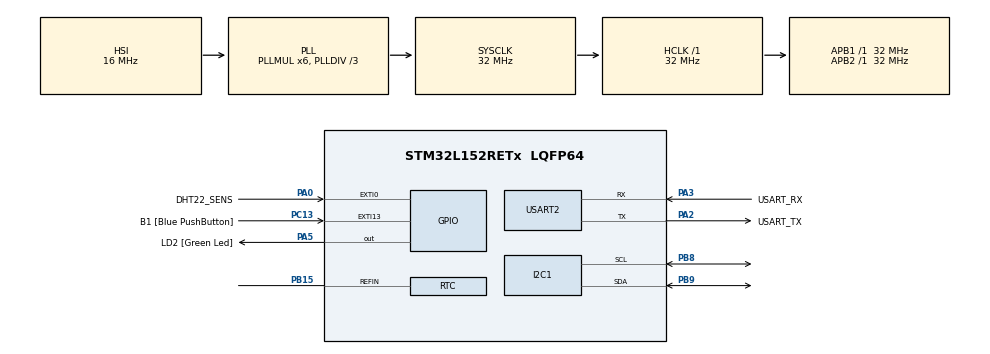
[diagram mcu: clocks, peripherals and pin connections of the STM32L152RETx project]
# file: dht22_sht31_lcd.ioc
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Mcu.Family=STM32L1
Mcu.Name=STM32L152RETx
Mcu.Package=LQFP64
NVIC.EXTI0_IRQn=true\:0\:0\:false\:false\:true\:true\:true
NVIC.I2C1_ER_IRQn=true\:0\:0\:false\:false\:true\:true\:true
NVIC.I2C1_EV_IRQn=true\:0\:0\:false\:false\:true\:true\:true
NVIC.PriorityGroup=NVIC_PRIORITYGROUP_0
NVIC.RTC_Alarm_IRQn=true\:0\:0\:false\:false\:true\:true\:true
NVIC.TIM7_IRQn=true\:0\:0\:false\:false\:true\:true\:true
NVIC.USART2_IRQn=true\:0\:0\:false\:false\:true\:true\:true
PA0-WKUP1.GPIO_Label=DHT22_SENS
PA0-WKUP1.GPIO_PuPd=GPIO_PULLUP
PA0-WKUP1.Signal=GPXTI0
PA13.GPIO_Label=TMS
PA13.Mode=Serial_Wire
PA13.Signal=SYS_JTMS-SWDIO
PA14.GPIO_Label=TCK
PA14.Mode=Serial_Wire
PA14.Signal=SYS_JTCK-SWCLK
PA2.GPIO_Label=USART_TX
PA2.Mode=Asynchronous
PA2.Signal=USART2_TX
PA3.GPIO_Label=USART_RX
PA3.Mode=Asynchronous
PA3.Signal=USART2_RX
PA5.GPIO_Label=LD2 [Green Led]
PA5.Signal=GPIO_Output
PB15.GPIO_PuPd=GPIO_PULLUP
PB15.Mode=Reference_Clock_Detection_Activate
PB15.Signal=RTC_REFIN
PB3.GPIO_Label=SWO
PB3.Signal=SYS_JTDO-TRACESWO
PB8.GPIO_Pu=GPIO_PULLUP
PB8.Mode=I2C
PB8.Signal=I2C1_SCL
PB9.GPIO_Pu=GPIO_PULLUP
PB9.Mode=I2C
PB9.Signal=I2C1_SDA
PC13-WKUP2.GPIO_Label=B1 [Blue PushButton]
PC13-WKUP2.Signal=GPXTI13
PC14-OSC32_IN.Mode=LSE-External-Oscillator
PC14-OSC32_IN.Signal=RCC_OSC32_IN
PC15-OSC32_OUT.Mode=LSE-External-Oscillator
PC15-OSC32_OUT.Signal=RCC_OSC32_OUT
PH0-OSC_IN.Mode=HSE-External-Clock-Source
PH0-OSC_IN.Signal=RCC_OSC_IN
PH1-OSC_OUT.Signal=RCC_OSC_OUT
ProjectManager.HeapSize=0x200
ProjectManager.StackSize=0x400
ProjectManager.TargetToolchain=STM32CubeIDE
RCC.48MHZClocksFreq_Value=48000000
RCC.AHBFreq_Value=32000000
RCC.APB1Freq_Value=32000000
RCC.APB1TimFreq_Value=32000000
RCC.APB2Freq_Value=32000000
RCC.APB2TimFreq_Value=32000000
RCC.HCLKFreq_Value=32000000
RCC.HSE_VALUE=8000000
RCC.HSI_VALUE=16000000
RCC.MSI_VALUE=2097000
RCC.PLLDIV=RCC_PLL_DIV3
RCC.PLLMUL=RCC_PLL_MUL6
RCC.RTCClockSelectionVirtual=RCC_RTCCLKSOURCE_LSE
RCC.SYSCLKFreq_VALUE=32000000
RCC.SYSCLKSource=RCC_SYSCLKSOURCE_PLLCLK
RCC.USBOutput=48000000
RCC.VCOOutputFreq_Value=96000000
RTC.Alarm-Alarm\ A=RTC_ALARM_A
RTC.AlarmDateWeekDay-Alarm\ A=6
RTC.Date=6
RTC.DayLightSaving=RTC_DAYLIGHTSAVING_ADD1H
RTC.Format=RTC_FORMAT_BCD
RTC.Hours=0
RTC.Minutes=2
RTC.Minutes_A-Alarm\ A=1
RTC.Month=RTC_MONTH_SEPTEMBER
RTC.Seconds=0
RTC.Seconds_A-Alarm\ A=10
RTC.Year=21
TIM7.Period=10-1
TIM7.Prescaler=31-1
USART2.VirtualMode=VM_ASYNC
VP_RTC_VS_RTC_Activate.Mode=RTC_Enabled
VP_RTC_VS_RTC_Alarm_A_Intern.Mode=Alarm A
VP_RTC_VS_RTC_Calendar.Mode=RTC_Calendar
VP_TIM7_VS_ClockSourceINT.Mode=Enable_Timer
board=NUCLEO-L152RE

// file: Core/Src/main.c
/* USER CODE BEGIN Header */
/**
  ******************************************************************************
  * @file           : main.c
  * @brief          : Main program body
  ******************************************************************************
  * @attention
  *
  * <h2><center>&copy; Copyright (c) 2021 STMicroelectronics.
  * All rights reserved.</center></h2>
  *
  * This software component is licensed by ST under BSD 3-Clause license,
  * the "License"; You may not use this file except in compliance with the
  * License. You may obtain a copy of the License at:
  *                        opensource.org/licenses/BSD-3-Clause
  *
  ******************************************************************************
  */
/* USER CODE END Header */
#include "main.h"
#include "i2c.h"
#include "rtc.h"
#include "tim.h"
#include "usart.h"
#include "gpio.h"

/* USER CODE BEGIN Includes */
#include "lib_lcd.h"
#include "DHT22.h"
#include "STH31.h"
#include <stdio.h>
/* USER CODE END Includes */

/* USER CODE BEGIN PV */
rgb_lcd DataStruct;

 SHT31_data_t data;
 uint8_t Data_T[256];
 uint8_t Data_H[256];

/* USER CODE END PV */

void SystemClock_Config(void);

int main(void)
{
  /* USER CODE BEGIN 1 */

	//HAL_NVIC_DisableIRQ(DHT22_SENS_EXTI_IRQn);

  /* USER CODE END 1 */

  /* MCU Configuration--------------------------------------------------------*/

  /* Reset of all peripherals, Initializes the Flash interface and the Systick. */
  HAL_Init();

  /* Configure the system clock */
  SystemClock_Config();

  /* Initialize all configured peripherals */
  MX_GPIO_Init();
  MX_USART2_UART_Init();
  MX_I2C1_Init();
  MX_TIM7_Init();
  MX_RTC_Init();
  /* USER CODE BEGIN 2 */

  	  /* INIT LCD */
 	  rgb_lcd LCD_DataStruct;
 	  LCD_DataStruct._displaycontrol = LCD_DISPLAYON;
 	  LCD_DataStruct._displayfunction = LCD_2LINE;
 	  LCD_DataStruct._displaymode = LCD_ENTRYLEFT;

 	  lcd_init(&hi2c1, &LCD_DataStruct);

 	  reglagecouleur(255,0,0);

 	  /* INIT DHT22 */
 	  DHT22_Init(&htim7, 32e6,DHT22_SENS_GPIO_Port,DHT22_SENS_Pin, DHT22_SENS_EXTI_IRQn);

 	  /* TEST : Print measures on the LCD screen */
 	  DHT22_Data DHT22_DataStruct;

	 	char text_buff7[32];
	 	sprintf(text_buff7,"  STM32 - BE");
	 	lcd_position(&hi2c1,0,0);
	 	lcd_print(&hi2c1, text_buff7);

	 	char text_buff8[32];
		sprintf(text_buff8, "DHT22/RTC/SHT31");
		lcd_position(&hi2c1,0,1);
		lcd_print(&hi2c1, text_buff8);
		HAL_Delay(1500);

	 	lcd_init(&hi2c1, &LCD_DataStruct);

	 	  //HAL_RTC_SetTime(&hrtc, &sTime, RTC_FORMAT_BIN);
	 	  //HAL_RTC_SetDate(&hrtc, &sDate, RTC_FORMAT_BIN);

	 	  //HAL_RTC_GetTime(&hrtc, &sTime, RTC_FORMAT_BIN);
	 	  //HAL_RTC_GetDate(&hrtc, &sDate, RTC_FORMAT_BIN);

	 		//char text_time[32];
	 	 	//sprintf(text_time,"%02d:%02d:%02d",sTime.Hours, sTime.Minutes, sTime.Seconds);
	 	 	//lcd_position(&hi2c1,0,0);
	 	 	//lcd_print(&hi2c1, text_time);

	 	 	//char text_date[32];
	 	 	//sprintf(text_date,"%02d-%02d-%02d",sDate.Date, sDate.Month, 2000+sDate.Year);
	 	 	//lcd_position(&hi2c1,0,1);
	 	 	//lcd_print(&hi2c1, text_date);

	 	 	//lcd_init(&hi2c1, &LCD_DataStruct);
	 	//HAL_Delay(2500);

  /* USER CODE END 2 */

  /* Infinite loop */
  while (1)
  {

    /* USER CODE BEGIN 3 */

	  reglagecouleur(125,0,0);

	  	HAL_Delay(500);

	  DHT22_DataStruct = DHT22_ReadData(); // lecture de la temperature et l'humidite dht22
	  data=SHT31_readData(&hi2c1); // lecture de la temperature et l'humidite sth31

	 	char text_buff1[32];
	 	sprintf(text_buff1,"T_dht22 : %.1f C",DHT22_DataStruct.T);
	 	lcd_position(&hi2c1,0,0);
	 	lcd_print(&hi2c1, text_buff1);

	 	char text_buff2[32];
		sprintf(text_buff2, "T_sht31 : %ld.%ld C ",(uint32_t )(data.T),(uint32_t )((data.T-(uint32_t )(data.T))*10));
		lcd_position(&hi2c1,0,1);
		lcd_print(&hi2c1, text_buff2);

		reglagecouleur(200,200,255);

		HAL_Delay(3000);

		char text_buff3[32];
		sprintf(text_buff3,"H_dht22 : %.1f %%",DHT22_DataStruct.RH);
		lcd_position(&hi2c1,0,0);
		lcd_print(&hi2c1, text_buff3);

		char text_buff4[32];
		sprintf(text_buff4, "H_sht31 : %ld.%ld %% ",(uint32_t )(data.H),(uint32_t )((data.H-(uint32_t )(data.H))*10));
		lcd_position(&hi2c1,0,1);
		lcd_print(&hi2c1, text_buff4);

		reglagecouleur(200,200,255);

		HAL_Delay(3000);

		float delta_T = DHT22_DataStruct.T - data.T;
		float delta_H = DHT22_DataStruct.RH - data.H;

		char text_buff5[32];
		sprintf(text_buff5,"Delta_T =%.2f C ",delta_T);
		lcd_position(&hi2c1,0,0);
		lcd_print(&hi2c1, text_buff5);

		char text_buff6[32];
		sprintf(text_buff6, "Delta_H =%.2f ",delta_H);
		lcd_position(&hi2c1,0,1);
		lcd_print(&hi2c1, text_buff6);

		reglagecouleur(200,200,255);
		HAL_Delay(3000);

  }
  /* USER CODE END 3 */
}

void SystemClock_Config(void)
{
  RCC_OscInitTypeDef RCC_OscInitStruct = {0};
  RCC_ClkInitTypeDef RCC_ClkInitStruct = {0};
  RCC_PeriphCLKInitTypeDef PeriphClkInit = {0};

  /** Configure the main internal regulator output voltage
  */
  __HAL_PWR_VOLTAGESCALING_CONFIG(PWR_REGULATOR_VOLTAGE_SCALE1);
  /** Initializes the RCC Oscillators according to the specified parameters
  * in the RCC_OscInitTypeDef structure.
  */
  RCC_OscInitStruct.OscillatorType = RCC_OSCILLATORTYPE_HSI|RCC_OSCILLATORTYPE_LSE;
  RCC_OscInitStruct.LSEState = RCC_LSE_ON;
  RCC_OscInitStruct.HSIState = RCC_HSI_ON;
  RCC_OscInitStruct.HSICalibrationValue = RCC_HSICALIBRATION_DEFAULT;
  RCC_OscInitStruct.PLL.PLLState = RCC_PLL_ON;
  RCC_OscInitStruct.PLL.PLLSource = RCC_PLLSOURCE_HSI;
  RCC_OscInitStruct.PLL.PLLMUL = RCC_PLL_MUL6;
  RCC_OscInitStruct.PLL.PLLDIV = RCC_PLL_DIV3;
  if (HAL_RCC_OscConfig(&RCC_OscInitStruct) != HAL_OK)
  {
    Error_Handler();
  }
  /** Initializes the CPU, AHB and APB buses clocks
  */
  RCC_ClkInitStruct.ClockType = RCC_CLOCKTYPE_HCLK|RCC_CLOCKTYPE_SYSCLK
                              |RCC_CLOCKTYPE_PCLK1|RCC_CLOCKTYPE_PCLK2;
  RCC_ClkInitStruct.SYSCLKSource = RCC_SYSCLKSOURCE_PLLCLK;
  RCC_ClkInitStruct.AHBCLKDivider = RCC_SYSCLK_DIV1;
  RCC_ClkInitStruct.APB1CLKDivider = RCC_HCLK_DIV1;
  RCC_ClkInitStruct.APB2CLKDivider = RCC_HCLK_DIV1;

  if (HAL_RCC_ClockConfig(&RCC_ClkInitStruct, FLASH_LATENCY_1) != HAL_OK)
  {
    Error_Handler();
  }
  PeriphClkInit.PeriphClockSelection = RCC_PERIPHCLK_RTC;
  PeriphClkInit.RTCClockSelection = RCC_RTCCLKSOURCE_LSE;
  if (HAL_RCCEx_PeriphCLKConfig(&PeriphClkInit) != HAL_OK)
  {
    Error_Handler();
  }
}

void Error_Handler(void)
{
  __disable_irq();
  while (1)
  {
  }
}

/************************ (C) COPYRIGHT STMicroelectronics *****END OF FILE****/
